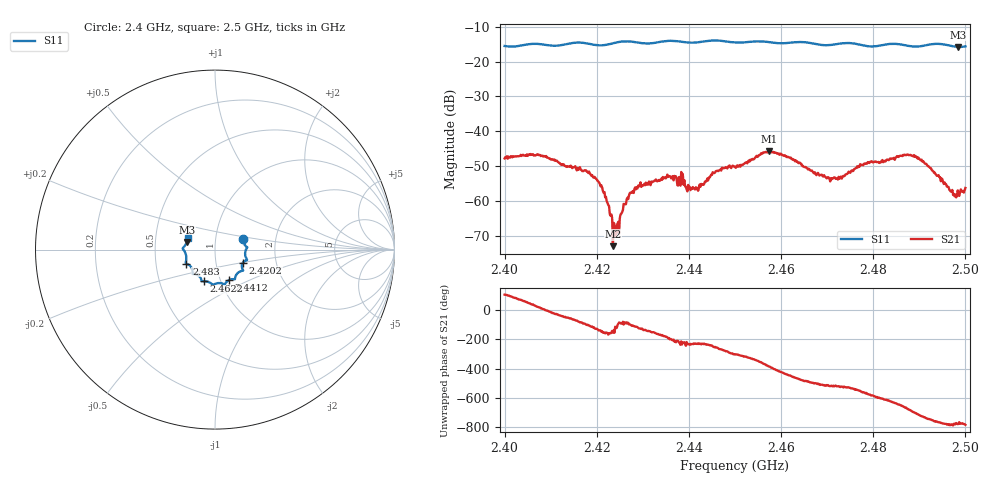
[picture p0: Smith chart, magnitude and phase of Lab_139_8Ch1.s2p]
# Hz S RI R 50
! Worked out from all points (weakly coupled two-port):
!   601 points, 2.4 GHz to 2.5 GHz, reference 50 ohm
!   highest |S21| = -45.69 dB at 2.4573 GHz (marker M1); lowest = -72.9 dB at 2.4235 GHz (marker M2)
!   lowest |S11| = -15.8 dB at 2.4985 GHz (marker M3), VSWR 1.39, Z = 36.3 + j3.12 ohm
!   |S11| at or under -10 dB: start of sweep to end of sweep
!   S12 and S22 are empty: the file has one direction only
!   S11 on the Smith chart (normalised r, x): 2.4 GHz: 1.36, +0.17; 2.4202 GHz: 1.35, -0.20; 2.4412 GHz: 1.09, -0.39; 2.4622 GHz: 0.83, -0.30; 2.483 GHz: 0.72, -0.12; 2.5 GHz: 0.73, +0.09
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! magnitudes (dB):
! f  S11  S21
! 2.4 GHz  -15.5  -47.8
! 2.4075 GHz  -15.0  -46.8
! 2.4167 GHz  -14.6  -51.1
! 2.4202 GHz  -15.3  -54.2
! 2.4222 GHz  -15.2  -60.1
! 2.4235 GHz  -14.7  -72.9
! 2.4245 GHz  -14.4  -66.5
! 2.4262 GHz  -14.2  -60.9
! 2.4278 GHz  -14.3  -57.1
! 2.4333 GHz  -14.4  -54.1
! 2.4368 GHz  -14.1  -52.8
! 2.4412 GHz  -14.6  -56.5
! 2.45 GHz  -14.5  -50.1
! 2.4573 GHz  -14.4  -45.7
! 2.4622 GHz  -14.5  -47.6
! 2.4667 GHz  -14.7  -51.2
! 2.4723 GHz  -14.9  -53.8
! 2.483 GHz  -15.0  -48.1
! 2.4833 GHz  -15.0  -48.3
! 2.4893 GHz  -15.7  -47.4
! 2.4985 GHz  -15.8  -57.9
! 2.5 GHz  -15.6  -56.2
